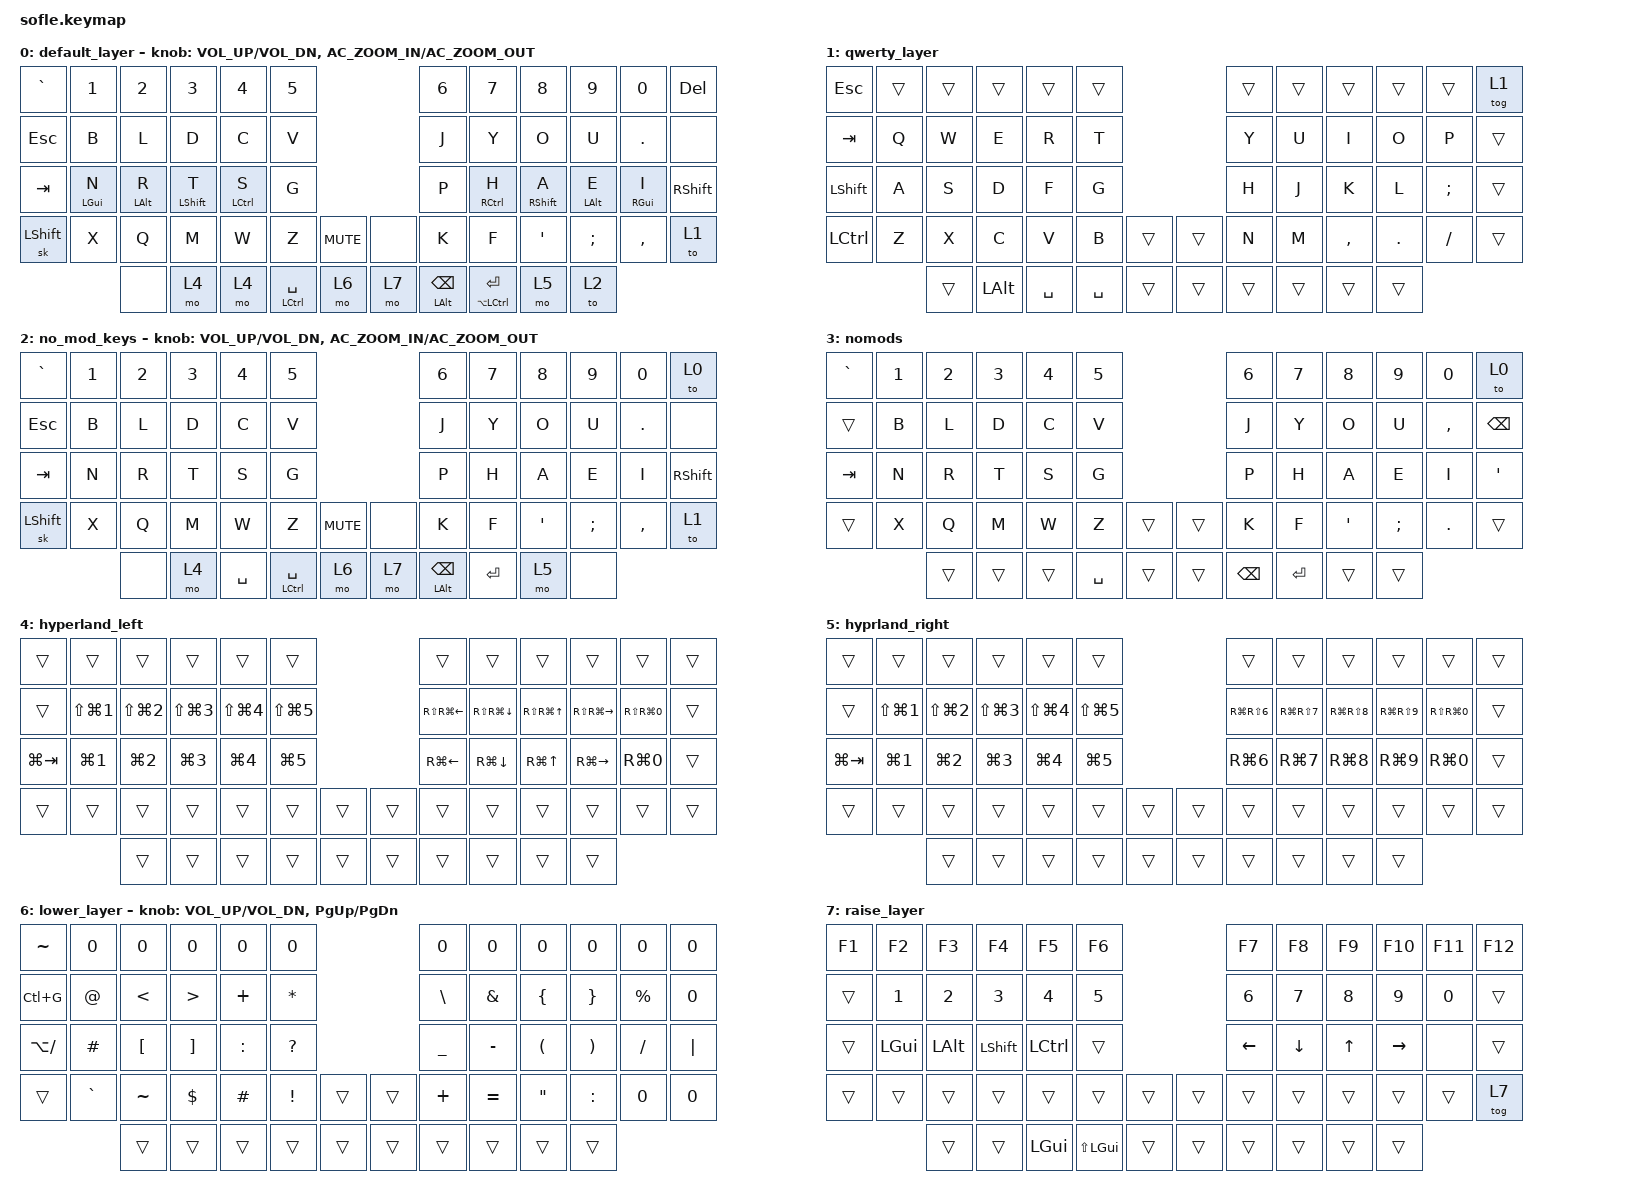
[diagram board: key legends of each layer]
/*
 * Copyright (c) 2020 The ZMK Contributors
 *
 * SPDX-License-Identifier: MIT
 */

#include <dt-bindings/zmk/behaviors.h>
#include "zmk-helpers/helper.h"
#include "zmk-helpers/key-labels/5x6.h"
#include <dt-bindings/led/led.h>
#include <behaviors.dtsi>
#include <dt-bindings/zmk/keys.h>

#define ___ &trans
#define DEF 0
#define NAV 1
#define NUM 2

/* Timeless homerow mods */
// https://github.com/urob/zmk-config/tree/main#timeless-homerow-mods

#define KEYS_L LT0 LT1 LT2 LT3 LT4 LM0 LM1 LM2 LM3 LM4 LB0 LB1 LB2 LB3 LB4  // left hand
#define KEYS_R RT0 RT1 RT2 RT3 RT4 RM0 RM1 RM2 RM3 RM4 RB0 RB1 RB2 RB3 RB4  // right hand
#define THUMBS LH1 LH0 RH0 RH1
#define BASE 0
#define LOWER 1
#define RAISE 2
#define ADJUST 3

/ {
    behaviors {
        hml: home_row_mod_left {
            compatible = "zmk,behavior-hold-tap";
            #binding-cells = <2>;
            flavor = "balanced";
            require-prior-idle-ms = <120>;
            tapping-term-ms = <200>;
            quick-tap-ms = <175>;
            bindings = <&kp>, <&kp>;

            hold-trigger-key-positions = <KEYS_R THUMBS>; // List of keys on the right side of the keyboard
            hold-trigger-on-release;
        };

        hmr: home_row_mod_right {
            compatible = "zmk,behavior-hold-tap";
            #binding-cells = <2>;
            flavor = "balanced";
            require-prior-idle-ms = <120>;
            tapping-term-ms = <200>;
            quick-tap-ms = <175>;
            bindings = <&kp>, <&kp>;

            hold-trigger-key-positions = < KEYS_L THUMBS >; // List of keys on the left side of the keyboard
            hold-trigger-on-release;
        };
    };

    // Activate ADJUST layer by pressing raise and lower

    conditional_layers { compatible = "zmk,conditional-layers"; };

    keymap {
        compatible = "zmk,keymap";

        default_layer {
            // ------------------------------------------------------------------------------------------------------------
            // |  `    |  1  |  2  |  3   |  4   |  5   |                   |  6   |  7    |  8    |  9   |   0   |       |
            // |  ESC  |  Q  |  W  |  E   |  R   |  T   |                   |  Y   |  U    |  I    |  O   |   P   | BKSPC |
            // |  TAB  |  A  |  S  |  D   |  F   |  G   |                   |  H   |  J    |  K    |  L   |   ;   |   '   |
            // | SHIFT |  Z  |  X  |  C   |  V   |  B   |  MUTE  |  |       |  N   |  M    |  ,    |  .   |   /   | SHIFT |
            //               | GUI | ALT  | CTRL | LOWER|  ENTER |  | SPACE | RAISE| CTRL  | ALT   | GUI  |

            bindings = <
&kp GRAVE  &kp N1           &kp N2           &kp N3             &kp N4        &kp N5                                 &kp N6                   &kp N7                 &kp N8              &kp N9           &kp N0            &kp DELETE
&kp ESC    &kp B            &kp L            &kp D              &kp C         &kp V                                  &kp J                    &kp Y                  &kp O               &kp U            &kp DOT           &none
&kp TAB    &hml LEFT_GUI N  &hml LEFT_ALT R  &hml LEFT_SHIFT T  &hml LCTRL S  &kp G                                  &kp P                    &hmr RCTRL H           &hmr RIGHT_SHIFT A  &hmr LEFT_ALT E  &hmr RIGHT_GUI I  &kp RIGHT_SHIFT
&sk LSHFT  &kp X            &kp Q            &kp M              &kp W         &kp Z             &kp C_MUTE    &none  &kp K                    &kp F                  &kp SQT             &kp SEMICOLON    &kp COMMA         &to 1
                            &none            &mo 4              &mo 4         &hml LCTRL SPACE  &mo 6         &mo 7  &hmr LEFT_ALT BACKSPACE  &hmr LA(LCTRL) RETURN  &mo 5               &to 2
            >;

            sensor-bindings =
                <&inc_dec_kp C_VOL_UP C_VOL_DN>,
                <&inc_dec_kp C_AC_ZOOM_IN C_AC_ZOOM_OUT>;
        };

        qwerty_layer {
            bindings = <
&kp ESCAPE  &trans  &trans  &trans        &trans     &trans                       &trans  &trans  &trans     &trans   &trans    &tog 1
&kp TAB     &kp Q   &kp W   &kp E         &kp R      &kp T                        &kp Y   &kp U   &kp I      &kp O    &kp P     &trans
&kp LSHIFT  &kp A   &kp S   &kp D         &kp F      &kp G                        &kp H   &kp J   &kp K      &kp L    &kp SEMI  &trans
&kp LCTRL   &kp Z   &kp X   &kp C         &kp V      &kp B      &trans    &trans  &kp N   &kp M   &kp COMMA  &kp DOT  &kp FSLH  &trans
                    &trans  &kp LEFT_ALT  &kp SPACE  &kp SPACE  &trans    &trans  &trans  &trans  &trans     &trans
            >;
        };

        no_mod_keys {
            bindings = <
&kp GRAVE  &kp N1  &kp N2  &kp N3  &kp N4     &kp N5                                 &kp N6                   &kp N7   &kp N8   &kp N9         &kp N0     &to 0
&kp ESC    &kp B   &kp L   &kp D   &kp C      &kp V                                  &kp J                    &kp Y    &kp O    &kp U          &kp DOT    &none
&kp TAB    &kp N   &kp R   &kp T   &kp S      &kp G                                  &kp P                    &kp H    &kp A    &kp E          &kp I      &kp RIGHT_SHIFT
&sk LSHFT  &kp X   &kp Q   &kp M   &kp W      &kp Z             &kp C_MUTE    &none  &kp K                    &kp F    &kp SQT  &kp SEMICOLON  &kp COMMA  &to 1
                   &none   &mo 4   &kp SPACE  &hml LCTRL SPACE  &mo 6         &mo 7  &hmr LEFT_ALT BACKSPACE  &kp RET  &mo 5    &none
            >;

            sensor-bindings =
                <&inc_dec_kp C_VOL_UP C_VOL_DN>,
                <&inc_dec_kp C_AC_ZOOM_IN C_AC_ZOOM_OUT>;
        };

        nomods {
            bindings = <
&kp GRAVE  &kp N1  &kp N2  &kp N3  &kp N4  &kp N5                       &kp N6         &kp N7      &kp N8   &kp N9    &kp N0     &to 0
&trans     &kp B   &kp L   &kp D   &kp C   &kp V                        &kp J          &kp Y       &kp O    &kp U     &kp COMMA  &kp BSPC
&kp TAB    &kp N   &kp R   &kp T   &kp S   &kp G                        &kp P          &kp H       &kp A    &kp E     &kp I      &kp SQT
&trans     &kp X   &kp Q   &kp M   &kp W   &kp Z      &trans    &trans  &kp K          &kp F       &kp SQT  &kp SEMI  &kp DOT    &trans
                   &trans  &trans  &trans  &kp SPACE  &trans    &trans  &kp BACKSPACE  &kp RETURN  &trans   &trans
            >;
        };

        hyperland_left {
            bindings = <
&trans       &trans          &trans          &trans          &trans          &trans                            &trans                  &trans                  &trans                &trans             &trans          &trans
&trans       &kp LS(LG(N1))  &kp LS(LG(N2))  &kp LS(LG(N3))  &kp LS(LG(N4))  &kp LS(LG(N5))                    &kp RS(RG(LEFT_ARROW))  &kp RS(RG(DOWN_ARROW))  &kp RS(RG(UP_ARROW))  &kp RS(RG(RIGHT))  &kp RS(RG(N0))  &trans
&kp LG(TAB)  &kp LG(N1)      &kp LG(N2)      &kp LG(N3)      &kp LG(N4)      &kp LG(N5)                        &kp RG(LEFT)            &kp RG(DOWN_ARROW)      &kp RG(UP_ARROW)      &kp RG(RIGHT)      &kp RG(N0)      &trans
&trans       &trans          &trans          &trans          &trans          &trans          &trans    &trans  &trans                  &trans                  &trans                &trans             &trans          &trans
                             &trans          &trans          &trans          &trans          &trans    &trans  &trans                  &trans                  &trans                &trans
            >;
        };

        hyprland_right {
            bindings = <
&trans       &trans          &trans          &trans          &trans          &trans                            &trans                &trans                &trans                &trans                &trans                &trans
&trans       &kp LS(LG(N1))  &kp LS(LG(N2))  &kp LS(LG(N3))  &kp LS(LG(N4))  &kp LS(LG(N5))                    &kp RG(RS(NUMBER_6))  &kp RG(RS(NUMBER_7))  &kp RG(RS(NUMBER_8))  &kp RG(RS(NUMBER_9))  &kp RS(RG(NUMBER_0))  &trans
&kp LG(TAB)  &kp LG(N1)      &kp LG(N2)      &kp LG(N3)      &kp LG(N4)      &kp LG(N5)                        &kp RG(NUMBER_6)      &kp RG(NUMBER_7)      &kp RG(NUMBER_8)      &kp RG(NUMBER_9)      &kp RG(N0)            &trans
&trans       &trans          &trans          &trans          &trans          &trans          &trans    &trans  &trans                &trans                &trans                &trans                &trans                &trans
                             &trans          &trans          &trans          &trans          &trans    &trans  &trans                &trans                &trans                &trans
            >;
        };

        lower_layer {
            // TODO: Some binds are waiting for shifted keycode support.
            // ------------------------------------------------------------------------------------------------------------
            // |       |  F1 |  F2 |  F3  |  F4  |  F5  |                   |  F6  |  F7   |  F8   |  F9  |  F10  |  F11  |
            // | `     |   1 |   2 |   3  |   4  |   5  |                   |   6  |   7   |   8   |   9  |    0  |  F12  |
            // |       |  !  |  @  |  #   |  $   |  %   |                   |  ^   |  &    |  *    |  (   |   )   |   |   |
            // |       |  =  |  -  |  +   |  {   |  }   |        |  |       |  [   |  ]    |  ;    |  :   |   \   |       |
            //               |     |      |      |      |        |  |       |      |       |       |      |

            bindings = <
&kp TILDE      &kp N0       &kp N0            &kp N0             &kp N0     &kp N0                          &kp N0          &kp N0         &kp N0                &kp N0                 &kp N0       &kp N0
&kp LC(G)      &kp AT_SIGN  &kp LESS_THAN     &kp GREATER_THAN   &kp PLUS   &kp STAR                        &kp BACKSLASH   &kp AMPERSAND  &kp LEFT_BRACE        &kp RIGHT_BRACE        &kp PERCENT  &kp NUMBER_0
&kp LA(SLASH)  &kp POUND    &kp LEFT_BRACKET  &kp RIGHT_BRACKET  &kp COLON  &kp QUESTION                    &kp UNDERSCORE  &kp MINUS      &kp LEFT_PARENTHESIS  &kp RIGHT_PARENTHESIS  &kp SLASH    &kp PIPE
&trans         &kp GRAVE    &kp TILDE         &kp DOLLAR         &kp HASH   &kp EXCL      &trans    &trans  &kp PLUS        &kp EQUAL      &kp DOUBLE_QUOTES     &kp COLON              &kp N0       &kp N0
                            &trans            &trans             &trans     &trans        &trans    &trans  &trans          &trans         &trans                &trans
            >;

            sensor-bindings = <&inc_dec_kp C_VOL_UP C_VOL_DN &inc_dec_kp PG_UP PG_DN>;
        };

        raise_layer {
            bindings = <
&kp F1  &kp F2        &kp F3        &kp F4          &kp F5        &kp F6                              &kp F7    &kp F8    &kp F9  &kp F10    &kp F11  &kp F12
&trans  &kp NUMBER_1  &kp N2        &kp N3          &kp N4        &kp N5                              &kp N6    &kp N7    &kp N8  &kp N9     &kp N0   &trans
&trans  &kp LEFT_GUI  &kp LEFT_ALT  &kp LEFT_SHIFT  &kp LCTRL     &trans                              &kp LEFT  &kp DOWN  &kp UP  &kp RIGHT  &none    &trans
&trans  &trans        &trans        &trans          &trans        &trans            &trans    &trans  &trans    &trans    &trans  &trans     &trans   &tog 7
                      &trans        &trans          &kp LEFT_GUI  &kp LS(LEFT_GUI)  &trans    &trans  &trans    &trans    &trans  &trans
            >;
        };
    };
};
